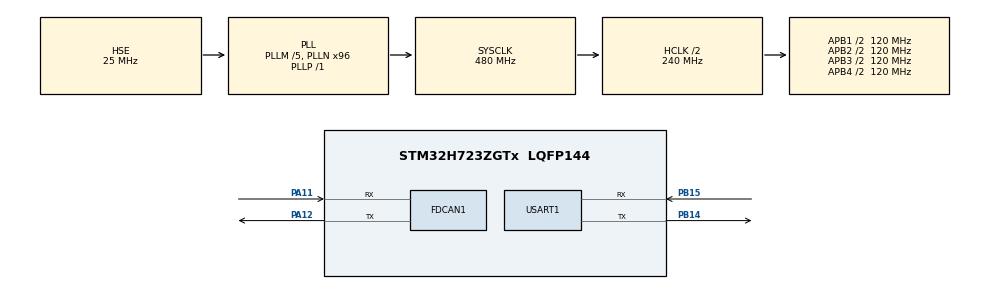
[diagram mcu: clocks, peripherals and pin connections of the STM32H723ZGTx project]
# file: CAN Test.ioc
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CORTEX_M7.default_mode_Activation=1
FDCAN1.CalculateBaudRateNominal=1000000
FDCAN1.CalculateTimeBitNominal=1000
FDCAN1.CalculateTimeQuantumNominal=40.0
FDCAN1.ExtFiltersNbr=4
FDCAN1.Mode=FDCAN_MODE_INTERNAL_LOOPBACK
FDCAN1.NominalPrescaler=4
FDCAN1.NominalTimeSeg1=19
FDCAN1.NominalTimeSeg2=5
FDCAN1.RxBuffersNbr=8
FDCAN1.RxFifo0ElmtsNbr=8
FDCAN1.RxFifo1ElmtsNbr=8
FDCAN1.StdFiltersNbr=4
FDCAN1.TxFifoQueueElmtsNbr=8
Mcu.Family=STM32H7
Mcu.Name=STM32H723ZGTx
Mcu.Package=LQFP144
NVIC.FDCAN1_IT0_IRQn=true\:0\:0\:false\:false\:true\:true\:true\:true
NVIC.PriorityGroup=NVIC_PRIORITYGROUP_4
PA11.Mode=FDCAN_Activate
PA11.Signal=FDCAN1_RX
PA12.Mode=FDCAN_Activate
PA12.Signal=FDCAN1_TX
PA13(JTMS/SWDIO).Mode=Serial_Wire
PA13(JTMS/SWDIO).Signal=DEBUG_JTMS-SWDIO
PA14(JTCK/SWCLK).Mode=Serial_Wire
PA14(JTCK/SWCLK).Signal=DEBUG_JTCK-SWCLK
PB14.Mode=Asynchronous
PB14.Signal=USART1_TX
PB15.Mode=Asynchronous
PB15.Signal=USART1_RX
PH0-OSC_IN.Mode=HSE-External-Oscillator
PH0-OSC_IN.Signal=RCC_OSC_IN
PH1-OSC_OUT.Mode=HSE-External-Oscillator
PH1-OSC_OUT.Signal=RCC_OSC_OUT
ProjectManager.HeapSize=0x200
ProjectManager.StackSize=0x400
ProjectManager.TargetToolchain=MDK-ARM V5.32
RCC.ADCFreq_Value=100000000
RCC.APB1Freq_Value=120000000
RCC.APB2Freq_Value=120000000
RCC.APB3Freq_Value=120000000
RCC.APB4Freq_Value=120000000
RCC.CortexFreq_Value=480000000
RCC.D1PPRE=RCC_APB3_DIV2
RCC.D2PPRE1=RCC_APB1_DIV2
RCC.D2PPRE2=RCC_APB2_DIV2
RCC.D3PPRE=RCC_APB4_DIV2
RCC.DIVM1=5
RCC.DIVM2=2
RCC.DIVN1=96
RCC.DIVN2=16
RCC.DIVN3=4
RCC.DIVP1=1
RCC.FDCANCLockSelection=RCC_FDCANCLKSOURCE_PLL2
RCC.HCLKFreq_Value=240000000
RCC.HPRE=RCC_HCLK_DIV2
RCC.PLL1_VCI_Range=RCC_PLL1VCIRANGE_3
RCC.PLL2FRACN=0
RCC.PLL3FRACN=0
RCC.PLLFRACN=0
RCC.PLLSourceVirtual=RCC_PLLSOURCE_HSE
RCC.SYSCLKFreq_VALUE=480000000
RCC.SYSCLKSource=RCC_SYSCLKSOURCE_PLLCLK
RCC.USBFreq_Value=240000000
USART1.VirtualMode-Asynchronous=VM_ASYNC
VP_MEMORYMAP_VS_MEMORYMAP.Mode=CurAppReg
board=custom

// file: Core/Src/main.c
/* USER CODE BEGIN Header */
/**
  ******************************************************************************
  * @file           : main.c
  * @brief          : Main program body
  ******************************************************************************
  * @attention
  *
  * Copyright (c) 2026 STMicroelectronics.
  * All rights reserved.
  *
  * This software is licensed under terms that can be found in the LICENSE file
  * in the root directory of this software component.
  * If no LICENSE file comes with this software, it is provided AS-IS.
  *
  ******************************************************************************
  */
/* USER CODE END Header */
#include "main.h"
#include "fdcan.h"
#include "usart.h"
#include "gpio.h"

/* USER CODE BEGIN PV */
uint8_t tx_data[8] = {0x11, 0x22, 0x33, 0x44, 0x55, 0x66, 0x77, 0x88};//发送数据组
uint8_t rx_data[8];//接收数据组
/* USER CODE END PV */

void SystemClock_Config(void);
static void MPU_Config(void);

int main(void)
{

  /* USER CODE BEGIN 1 */
	uint8_t ce = 0;
	uint8_t send_buf[] = "CAN Loopback Test OK\r\n";
  /* USER CODE END 1 */

  /* MPU Configuration--------------------------------------------------------*/
  MPU_Config();

  /* MCU Configuration--------------------------------------------------------*/

  /* Reset of all peripherals, Initializes the Flash interface and the Systick. */
  HAL_Init();

  /* Configure the system clock */
  SystemClock_Config();

  /* Initialize all configured peripherals */
  MX_GPIO_Init();
  MX_FDCAN1_Init();
  MX_USART1_UART_Init();
  /* USER CODE BEGIN 2 */
	FDCAN_TxHeaderTypeDef tx_header;
	FDCAN_RxHeaderTypeDef rx_header;
	HAL_FDCAN_Start(&hfdcan1);        //开启FDCAN外设
	HAL_Delay(20);

	tx_header.Identifier = 0x200;                     //11bit报文ID
	tx_header.IdType = FDCAN_STANDARD_ID;             //IDE=0，标准帧
	tx_header.TxFrameType = FDCAN_DATA_FRAME;         //RTR=0，数据帧
	tx_header.DataLength = FDCAN_DLC_BYTES_8;
	tx_header.ErrorStateIndicator = FDCAN_ESI_ACTIVE;
	tx_header.BitRateSwitch = FDCAN_BRS_OFF;
	tx_header.FDFormat = FDCAN_CLASSIC_CAN;
	tx_header.TxEventFifoControl = FDCAN_NO_TX_EVENTS;
	tx_header.MessageMarker = 0;

  /* USER CODE END 2 */

  /* Infinite loop */
  while (1)
  {

    /* USER CODE BEGIN 3 */
    ce = 0;
    if(HAL_FDCAN_AddMessageToTxFifoQ(&hfdcan1, &tx_header, tx_data) == HAL_OK)
    {
        HAL_UART_Transmit(&huart1, (uint8_t*)"TEST\r\n", sizeof("TEST\r\n")-1, 50);

        if(HAL_FDCAN_GetRxMessage(&hfdcan1, FDCAN_RX_FIFO0, &rx_header, rx_data) == HAL_OK)
        {
            HAL_UART_Transmit(&huart1, (uint8_t*)"成功收到CAN报文\r\n", sizeof("成功收到CAN报文\r\n")-1, 50);

            //数据校验
            for(int i = 0; i < 8; i++)
            {
                if(tx_data[i] != rx_data[i])
                {
                    ce = 1;
                    break;
                }
            }
            if(ce == 0)
            {
                HAL_UART_Transmit(&huart1, send_buf, sizeof(send_buf)-1, 50);
            }
            else
            {
                HAL_UART_Transmit(&huart1, (uint8_t*)"CAN Data Error!\r\n", sizeof("CAN Data Error!\r\n")-1, 50);
            }
        }
        else
        {
            //发送成功，但是FIFO没有收到数据
            HAL_UART_Transmit(&huart1, (uint8_t*)"发送成功，未收到回环报文\r\n", sizeof("发送成功，未收到回环报文\r\n")-1, 50);
        }
    }
    else
    {
        HAL_UART_Transmit(&huart1, (uint8_t*)"fail\r\n", sizeof("fail\r\n")-1, 50);
    }
    HAL_Delay(500);
  }
  /* USER CODE END 3 */
}

void SystemClock_Config(void)
{
  RCC_OscInitTypeDef RCC_OscInitStruct = {0};
  RCC_ClkInitTypeDef RCC_ClkInitStruct = {0};

  /** Supply configuration update enable
  */
  HAL_PWREx_ConfigSupply(PWR_LDO_SUPPLY);

  /** Configure the main internal regulator output voltage
  */
  __HAL_PWR_VOLTAGESCALING_CONFIG(PWR_REGULATOR_VOLTAGE_SCALE0);

  while(!__HAL_PWR_GET_FLAG(PWR_FLAG_VOSRDY)) {}

  /** Initializes the RCC Oscillators according to the specified parameters
  * in the RCC_OscInitTypeDef structure.
  */
  RCC_OscInitStruct.OscillatorType = RCC_OSCILLATORTYPE_HSE;
  RCC_OscInitStruct.HSEState = RCC_HSE_ON;
  RCC_OscInitStruct.PLL.PLLState = RCC_PLL_ON;
  RCC_OscInitStruct.PLL.PLLSource = RCC_PLLSOURCE_HSE;
  RCC_OscInitStruct.PLL.PLLM = 5;
  RCC_OscInitStruct.PLL.PLLN = 96;
  RCC_OscInitStruct.PLL.PLLP = 1;
  RCC_OscInitStruct.PLL.PLLQ = 2;
  RCC_OscInitStruct.PLL.PLLR = 2;
  RCC_OscInitStruct.PLL.PLLRGE = RCC_PLL1VCIRANGE_3;
  RCC_OscInitStruct.PLL.PLLVCOSEL = RCC_PLL1VCOWIDE;
  RCC_OscInitStruct.PLL.PLLFRACN = 0;
  if (HAL_RCC_OscConfig(&RCC_OscInitStruct) != HAL_OK)
  {
    Error_Handler();
  }

  /** Initializes the CPU, AHB and APB buses clocks
  */
  RCC_ClkInitStruct.ClockType = RCC_CLOCKTYPE_HCLK|RCC_CLOCKTYPE_SYSCLK
                              |RCC_CLOCKTYPE_PCLK1|RCC_CLOCKTYPE_PCLK2
                              |RCC_CLOCKTYPE_D3PCLK1|RCC_CLOCKTYPE_D1PCLK1;
  RCC_ClkInitStruct.SYSCLKSource = RCC_SYSCLKSOURCE_PLLCLK;
  RCC_ClkInitStruct.SYSCLKDivider = RCC_SYSCLK_DIV1;
  RCC_ClkInitStruct.AHBCLKDivider = RCC_HCLK_DIV2;
  RCC_ClkInitStruct.APB3CLKDivider = RCC_APB3_DIV2;
  RCC_ClkInitStruct.APB1CLKDivider = RCC_APB1_DIV2;
  RCC_ClkInitStruct.APB2CLKDivider = RCC_APB2_DIV2;
  RCC_ClkInitStruct.APB4CLKDivider = RCC_APB4_DIV2;

  if (HAL_RCC_ClockConfig(&RCC_ClkInitStruct, FLASH_LATENCY_3) != HAL_OK)
  {
    Error_Handler();
  }
}

 /* MPU Configuration */

void MPU_Config(void)
{
  MPU_Region_InitTypeDef MPU_InitStruct = {0};

  /* Disables the MPU */
  HAL_MPU_Disable();

  /** Initializes and configures the Region and the memory to be protected
  */
  MPU_InitStruct.Enable = MPU_REGION_ENABLE;
  MPU_InitStruct.Number = MPU_REGION_NUMBER0;
  MPU_InitStruct.BaseAddress = 0x0;
  MPU_InitStruct.Size = MPU_REGION_SIZE_4GB;
  MPU_InitStruct.SubRegionDisable = 0x87;
  MPU_InitStruct.TypeExtField = MPU_TEX_LEVEL0;
  MPU_InitStruct.AccessPermission = MPU_REGION_NO_ACCESS;
  MPU_InitStruct.DisableExec = MPU_INSTRUCTION_ACCESS_DISABLE;
  MPU_InitStruct.IsShareable = MPU_ACCESS_SHAREABLE;
  MPU_InitStruct.IsCacheable = MPU_ACCESS_NOT_CACHEABLE;
  MPU_InitStruct.IsBufferable = MPU_ACCESS_NOT_BUFFERABLE;

  HAL_MPU_ConfigRegion(&MPU_InitStruct);
  /* Enables the MPU */
  HAL_MPU_Enable(MPU_PRIVILEGED_DEFAULT);

}

void Error_Handler(void)
{
  __disable_irq();
  while (1)
  {
  }
}
